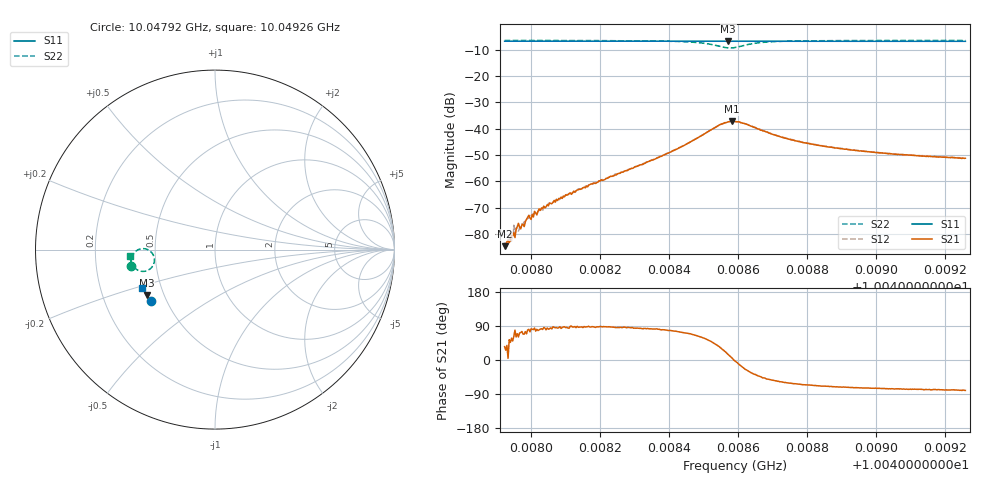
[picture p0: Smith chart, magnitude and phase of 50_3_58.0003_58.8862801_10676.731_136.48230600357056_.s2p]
#  HZ  S  RI  R  50.00
! Rohde & Schwarz Vector Network Analyzer
! Rohde-Schwarz,ZNB20-2Port,1311601062101988,3.16
! Created: UTC 3/21/2024, 12:52:28 AM
! freq[Hz]  re:S11  im:S11  re:S21  im:S21  re:S12  im:S12  re:S22  im:S22
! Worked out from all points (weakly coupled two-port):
!   401 points, 10.04792 GHz to 10.04926 GHz, reference 50 ohm
!   highest |S21| = -37.18 dB at 10.04858 GHz (marker M1); lowest = -84.6 dB at 10.04792 GHz (marker M2)
!   lowest |S11| = -6.8 dB at 10.04857 GHz (marker M3), VSWR 2.68, Z = 20.1 - j12.8 ohm
!   |S11| at or under -10 dB: nowhere
!   |S22| runs from -9.3 to -6.5 dB; largest |S21 - S12| = 0.0011
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1.0047925e10  -0.3575 -0.2889  4.79e-05 3.38e-05  6.77e-05 1.29e-05  -0.4656 -0.0926
1.0047941e10  -0.3582 -0.2881  5.11e-05 5.39e-05  4.3e-05 9.53e-05  -0.4656 -0.0912
1.0047948e10  -0.3584 -0.2876  5.87e-05 7.06e-05  7.07e-05 6.16e-05  -0.4657 -0.0904
1.0047968e10  -0.3594 -0.2864  4.29e-05 0.000126  6.48e-05 0.000112  -0.4658 -0.0889
1.0047975e10  -0.3595 -0.2862  3.83e-05 0.000145  6.25e-05 0.000142  -0.466 -0.0882
1.0047991e10  -0.3601 -0.2853  3.82e-05 0.000203  3.77e-05 0.000194  -0.4661 -0.0866
1.0048031e10  -0.3618 -0.283  4.09e-05 0.000309  1.18e-05 0.000291  -0.4664 -0.083
1.0048058e10  -0.3629 -0.2815  3.44e-05 0.000378  7.24e-06 0.000396  -0.4667 -0.0804
1.0048148e10  -0.3665 -0.2767  3.55e-05 0.000724  1.16e-05 0.000717  -0.4671 -0.0712
1.0048372e10  -0.3749 -0.2643  0.000448 0.00285  0.000322 0.00287  -0.4614 -0.0369
1.0048488e10  -0.3788 -0.2574  0.00325 0.00615  0.00291 0.00638  -0.4299 -0.00152
1.0048545e10  -0.3801 -0.2541  0.00939 0.0068  0.00897 0.00723  -0.3704 -0.00237
1.0048572e10  -0.3806 -0.2527  0.013 0.00345  0.0128 0.00416  -0.3409 -0.0373
1.0048582e10  -0.381 -0.2524  0.0138 0.00152  0.0134 0.00237  -0.3375 -0.0561
1.0048592e10  -0.3812 -0.252  0.0137 -0.000598  0.0137 0.000376  -0.3398 -0.0751
1.0048628e10  -0.3828 -0.2506  0.0105 -0.00562  0.0109 -0.00491  -0.3785 -0.1172
1.0048675e10  -0.3847 -0.2482  0.00613 -0.00664  0.00675 -0.00628  -0.4226 -0.118
1.0048732e10  -0.3869 -0.245  0.00351 -0.00577  0.00393 -0.00559  -0.4469 -0.1026
1.0048815e10  -0.3899 -0.2401  0.00201 -0.00467  0.00228 -0.00459  -0.4608 -0.0839
1.0048925e10  -0.3936 -0.2337  0.0012 -0.00377  0.00144 -0.00373  -0.4676 -0.0669
1.0049039e10  -0.3973 -0.2271  0.000831 -0.00327  0.00102 -0.00322  -0.4707 -0.0536
1.0049259e10  -0.404 -0.2141  0.000466 -0.00271  0.000628 -0.00269  -0.4734 -0.0333
